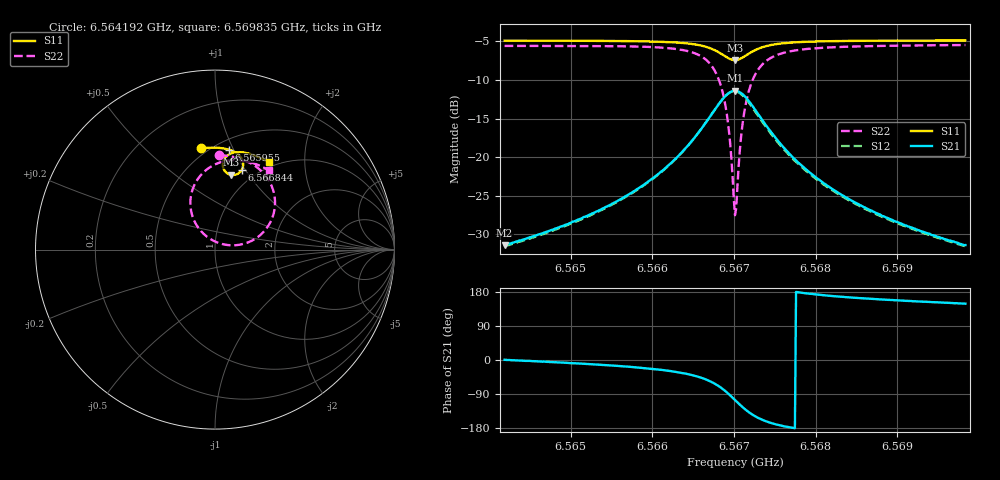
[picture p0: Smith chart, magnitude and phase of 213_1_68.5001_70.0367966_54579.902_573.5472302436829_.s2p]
#  HZ  S  RI  R  50.00
! Rohde & Schwarz Vector Network Analyzer
! Rohde-Schwarz,ZNB20-2Port,1311601062101988,3.16
! Created: UTC 3/20/2024, 4:58:06 PM
! freq[Hz]  re:S11  im:S11  re:S21  im:S21  re:S12  im:S12  re:S22  im:S22
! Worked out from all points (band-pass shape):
!   401 points, 6.564192 GHz to 6.569835 GHz, reference 50 ohm
!   highest |S21| = -11.38 dB at 6.567013 GHz (marker M1); lowest = -31.4 dB at 6.564192 GHz (marker M2)
!   |S21| within 3 dB of the highest: 6.56673 GHz to 6.567295 GHz (565.5 kHz wide, 0.00861 % of centre)
!   lowest |S11| = -7.4 dB at 6.567013 GHz (marker M3), VSWR 2.48, Z = 40.7 + j41.4 ohm
!   |S11| at or under -10 dB: nowhere
!   |S22| runs from -27.5 to -5.5 dB; largest |S21 - S12| = 0.012
!   S11 on the Smith chart (normalised r, x): 6.564192 GHz: 0.46, +0.77; 6.565955 GHz: 0.59, +0.96; 6.566844 GHz: 0.85, +0.96; 6.569835 GHz: 0.92, +1.34
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6.5641915e9  -0.0753 0.5643  0.0269 0.00026  0.0266 -0.000275  0.0245 0.5259
6.5651368e9  0.00158 0.568  0.0397 -0.00679  0.0391 -0.00724  0.1124 0.5141
6.5659551e9  0.0763 0.5574  0.0645 -0.0268  0.0636 -0.0274  0.2137 0.4725
6.5660821e9  0.0894 0.5531  0.071 -0.0337  0.0699 -0.0344  0.2343 0.4581
6.5663925e9  0.1243 0.5346  0.0915 -0.0648  0.09 -0.066  0.2927 0.3964
6.5666182e9  0.1499 0.5045  0.105 -0.1173  0.1024 -0.1195  0.3321 0.2952
6.5667452e9  0.157 0.4743  0.0976 -0.17  0.0935 -0.1732  0.325 0.1944
6.566844e9  0.1488 0.4439  0.066 -0.2223  0.0587 -0.2248  0.269 0.097
6.5668863e9  0.1389 0.4313  0.0408 -0.2429  0.0317 -0.2447  0.2227 0.0593
6.5669286e9  0.1246 0.4212  0.00747 -0.2585  -0.00287 -0.2583  0.1621 0.0327
6.5669992e9  0.0939 0.4157  -0.0589 -0.2628  -0.0702 -0.2582  0.0435 0.0301
6.5670133e9  0.0876 0.4168  -0.0725 -0.2598  -0.0834 -0.254  0.0198 0.0372
6.5670415e9  0.0753 0.421  -0.0984 -0.2497  -0.1083 -0.2421  -0.0242 0.0581
6.5670838e9  0.06 0.4318  -0.1313 -0.2263  -0.139 -0.2167  -0.0783 0.1033
6.5671261e9  0.0494 0.4463  -0.1548 -0.1967  -0.1599 -0.1862  -0.1143 0.1579
6.5671826e9  0.0432 0.4672  -0.1712 -0.1555  -0.1732 -0.1451  -0.1356 0.2318
6.5672531e9  0.0456 0.4904  -0.1737 -0.11  -0.1729 -0.1011  -0.1316 0.3111
6.567366e9  0.0605 0.5163  -0.158 -0.0592  -0.1554 -0.0531  -0.093 0.3974
6.5675071e9  0.0837 0.5332  -0.1317 -0.0246  -0.129 -0.0208  -0.0359 0.4536
6.5679586e9  0.1442 0.5427  -0.0769 0.0082  -0.0751 0.00935  0.0915 0.4982
6.5689039e9  0.2306 0.5207  -0.0372 0.0145  -0.0364 0.0148  0.221 0.4788
6.569835e9  0.2985 0.4869  -0.023 0.0141  -0.0226 0.0141  0.3003 0.4409
